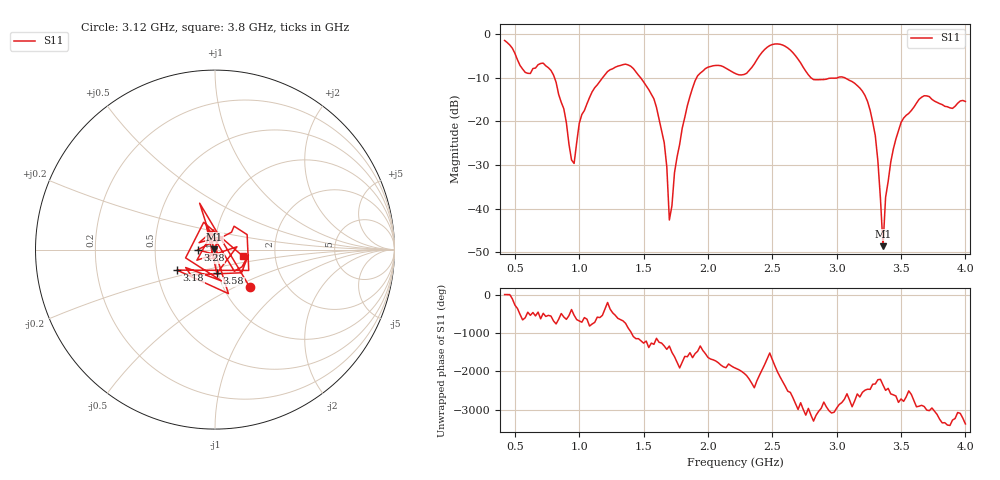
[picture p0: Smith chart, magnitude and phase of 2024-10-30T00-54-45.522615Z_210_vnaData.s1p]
!Created with skrf (http://scikit-rf.org).
# Hz S RI R 50.0
!freq ReS11 ImS11
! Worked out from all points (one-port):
!   180 points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, 420 MHz to 4 GHz, reference 50 ohm
!   lowest |S11| = -48.6 dB at 3.36 GHz (marker M1), VSWR 1.01, Z = 49.7 + j0.124 ohm
!   |S11| at or under -10 dB: 807.2 MHz to 1.182 GHz (374.5 MHz wide, 37.7 % of centre); 1.476 GHz to 1.912 GHz (436.4 MHz wide, 25.8 % of centre); 3.061 GHz to end of sweep (the widest 3 of 4)
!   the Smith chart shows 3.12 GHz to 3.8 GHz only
!   S11 on the Smith chart (normalised r, x): 3.12 GHz: 1.32, -0.60; 3.18 GHz: 0.64, -0.15; 3.28 GHz: 0.82, -0.00; 3.58 GHz: 0.99, -0.27; 3.8 GHz: 1.36, -0.10
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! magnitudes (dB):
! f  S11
! 420 MHz  -1.5
! 580 MHz  -8.8
! 780 MHz  -8.3
! 880 MHz  -17.1
! 960 MHz  -29.7
! 1 GHz  -20.5
! 1.1 GHz  -13.3
! 1.32 GHz  -7.2
! 1.58 GHz  -14.9
! 1.66 GHz  -24.9
! 1.7 GHz  -42.6
! 1.78 GHz  -25.3
! 1.92 GHz  -9.6
! 2.22 GHz  -9.2
! 2.5 GHz  -2.4
! 2.66 GHz  -4.3
! 2.82 GHz  -10.4
! 3.12 GHz  -10.9
! 3.18 GHz  -12.4
! 3.28 GHz  -20.2
! 3.32 GHz  -29.1
! 3.36 GHz  -48.6
! 3.38 GHz  -37.4
! 3.42 GHz  -29.4
! 3.56 GHz  -18.2
! 3.58 GHz  -17.5
! 3.8 GHz  -16.0
! 4 GHz  -15.5
